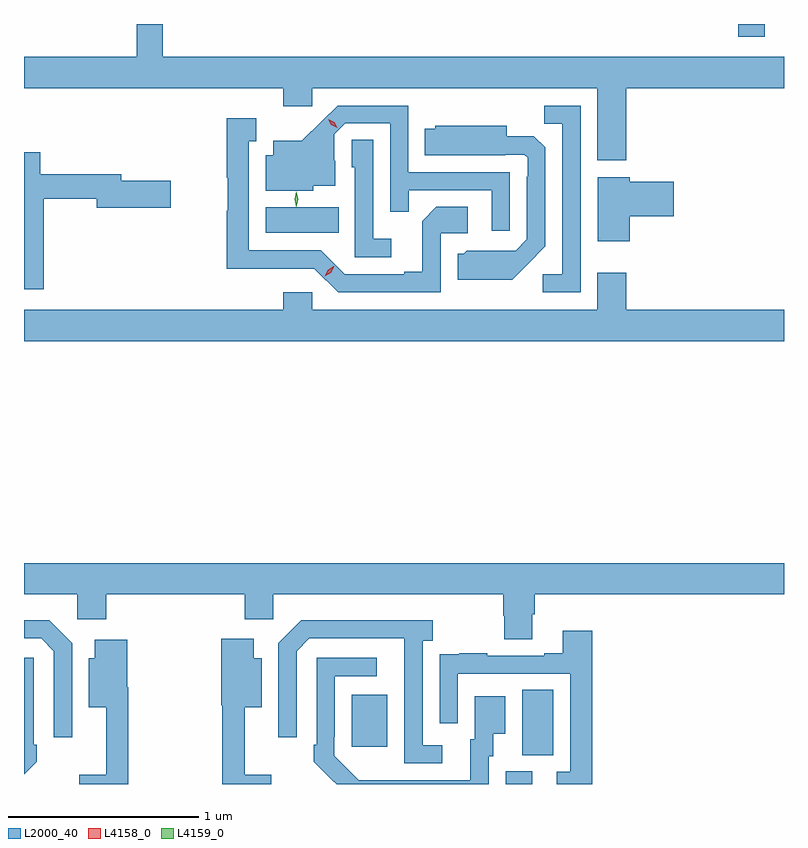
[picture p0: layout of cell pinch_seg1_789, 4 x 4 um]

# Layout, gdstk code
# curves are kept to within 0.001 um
import gdstk
lib = gdstk.Library(unit=1e-6, precision=1e-09)
def R(c, l, rs):  # rectangles x0, y0, x1, y1
    for r in rs: c.add(gdstk.rectangle(r[:2], r[2:], *l))
def P(c, l, *ps):  # polygons
    for p in ps: c.add(gdstk.Polygon(p, *l))
L2000_40 = (2000, 40)
L4158_0 = (4158, 0)
L4159_0 = (4159, 0)

pinch_seg1_789 = lib.new_cell('pinch_seg1_789')
R(pinch_seg1_789, L2000_40, [(384.389,574.709,384.529,574.776), (384.476,574.861,384.64,575.204), (383.579,574.905,383.767,575.179), (383.126,577.61,383.51,577.744), (385.613,578.643,385.753,578.709)])
P(pinch_seg1_789, L2000_40, [(385.025,578.372),(385.854,578.372),(385.854,578.536),(382.583,578.536),(382.583,578.709),(382.447,578.709),(382.447,578.536),(381.854,578.536),(381.854,578.372),(383.219,578.372),(383.219,578.277),(383.37,578.277),(383.37,578.372),(384.872,578.372),(384.872,577.992),(385.025,577.992)],
  [(384.783,578.28),(384.592,578.28),(384.592,578.185),(384.687,578.185),(384.687,577.392),(384.585,577.392),(384.585,577.296),(384.783,577.296)],
  [(384.411,577.929),(383.877,577.929),(383.877,578.28),(383.504,578.28),(383.317,578.095),(383.165,578.095),(383.165,578.017),(383.126,578.017),(383.126,577.832),(383.376,577.832),(383.376,577.859),(383.491,577.859),(383.491,577.988),(383.487,577.988),(383.487,578.13),(383.544,578.187),(383.781,578.187),(383.781,577.72),(383.879,577.72),(383.879,577.833),(384.315,577.833),(384.315,577.62),(384.411,577.62)],
  [(384.048,577.608),(384.19,577.608),(384.19,577.748),(384.025,577.748),(383.949,577.672),(383.949,577.405),(383.855,577.405),(383.855,577.392),(383.541,577.392),(383.415,577.518),(383.038,577.518),(383.038,578.091),(383.077,578.091),(383.077,578.212),(382.92,578.212),(382.92,577.899),(382.927,577.899),(382.927,577.725),(382.92,577.725),(382.92,577.421),(383.382,577.422),(383.508,577.296),(384.048,577.296)],
  [(384.505,577.445),(384.597,577.538),(384.597,578.06),(384.538,578.119),(384.394,578.119),(384.394,578.173),(384.018,578.173),(384.018,578.158),(383.962,578.158),(383.962,578.018),(384.386,578.018),(384.386,578.022),(384.486,578.022),(384.504,578.004),(384.504,577.904),(384.501,577.904),(384.501,577.575),(384.441,577.515),(384.184,577.516),(384.168,577.5),(384.137,577.5),(384.137,577.364),(384.425,577.364)],
  [(383.788,577.579),(383.691,577.579),(383.691,578.099),(383.58,578.099),(383.58,577.956),(383.595,577.956),(383.595,577.482),(383.788,577.482)],
  [(381.959,577.789),(382.238,577.789),(382.238,577.742),(382.627,577.742),(382.627,577.884),(382.366,577.884),(382.366,577.918),(381.94,577.918),(381.94,578.035),(381.854,578.035),(381.854,577.314),(381.959,577.314)],
  [(385.042,577.697),(385.273,577.697),(385.273,577.88),(385.042,577.88),(385.042,577.903),(384.875,577.903),(384.875,577.566),(385.042,577.566)],
  [(385.854,577.204),(385.025,577.204),(385.025,577.399),(384.872,577.399),(384.872,577.204),(383.37,577.204),(383.37,577.297),(383.219,577.297),(383.219,577.204),(381.854,577.204),(381.854,577.04),(385.854,577.04)],
  [(384.529,575.602),(384.542,575.602),(384.542,575.708),(385.854,575.708),(385.854,575.872),(381.854,575.872),(381.854,575.708),(382.134,575.708),(382.134,575.577),(382.286,575.577),(382.286,575.708),(383.015,575.708),(383.015,575.577),(383.166,575.577),(383.166,575.708),(384.377,575.708),(384.377,575.595),(384.382,575.595),(384.382,575.47),(384.529,575.47)],
  [(382.107,575.451),(381.986,575.572),(381.854,575.572),(381.854,575.475),(381.945,575.475),(382.011,575.409),(382.011,574.956),(382.107,574.956)],
  [(384.055,574.914),(383.952,574.914),(383.952,575.462),(384.004,575.462),(384.004,575.572),(383.314,575.572),(383.193,575.451),(383.193,574.956),(383.289,574.956),(383.289,575.409),(383.355,575.475),(383.855,575.475),(383.856,574.818),(384.055,574.818)],
  [(384.845,575.515),(384.689,575.515),(384.689,575.398),(384.593,575.398),(384.593,575.385),(384.293,575.385),(384.293,575.398),(384.145,575.398),(384.145,575.391),(384.043,575.391),(384.043,575.282),(384.042,575.282),(384.042,575.028),(384.138,575.028),(384.138,575.289),(384.729,575.289),(384.729,574.773),(384.657,574.773),(384.657,574.709),(384.845,574.709)],
  [(383.155,574.759),(383.015,574.759),(383.015,575.114),(383.104,575.114),(383.104,575.371),(383.062,575.371),(383.062,575.473),(382.892,575.473),(382.892,575.124),(382.897,575.124),(382.897,574.709),(383.155,574.709)],
  [(382.403,575.218),(382.397,575.218),(382.397,575.467),(382.226,575.467),(382.226,575.371),(382.196,575.371),(382.196,575.114),(382.286,575.114),(382.286,574.759),(382.146,574.759),(382.146,574.709),(382.403,574.709)],
  [(381.921,574.827),(381.921,574.915),(381.906,574.915),(381.906,575.373),(381.854,575.373),(381.854,574.76)],
  [(384.3,574.854),(384.325,574.854),(384.325,574.973),(384.388,574.973),(384.388,575.17),(384.227,575.17),(384.227,574.944),(384.203,574.944),(384.203,574.728),(383.616,574.729),(383.487,574.857),(383.487,574.957),(383.49,574.957),(383.49,575.277),(383.71,575.277),(383.71,575.373),(383.394,575.373),(383.394,574.915),(383.379,574.915),(383.379,574.827),(383.484,574.722),(383.485,574.723),(383.499,574.709),(384.3,574.709)])
P(pinch_seg1_789, L4158_0, [(383.503,578.162),(383.472,578.178),(383.454,578.208),(383.454,578.208),(383.455,578.208),(383.486,578.192),(383.503,578.162),(383.503,578.162)],
  [(383.436,577.382),(383.436,577.382),(383.454,577.415),(383.485,577.434),(383.486,577.434),(383.486,577.434),(383.468,577.401),(383.437,577.382)])
P(pinch_seg1_789, L4159_0, [(383.287,577.747),(383.278,577.786),(383.287,577.825),(383.288,577.825),(383.288,577.825),(383.298,577.786),(383.288,577.747),(383.288,577.747)])

lib.write_gds('pinch_seg1_789.gds')
